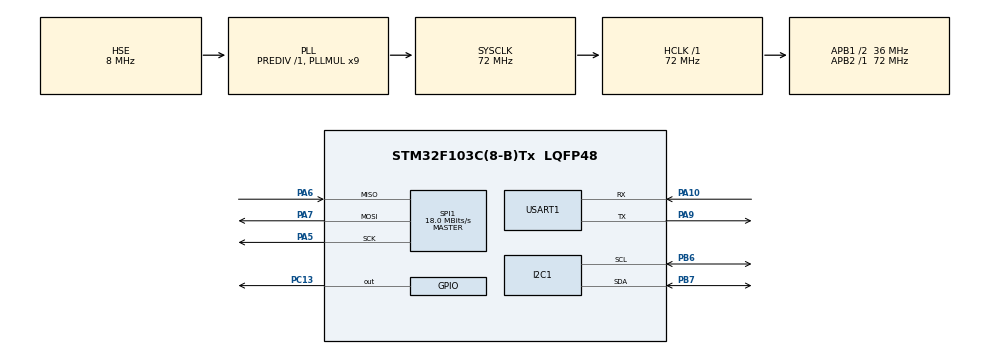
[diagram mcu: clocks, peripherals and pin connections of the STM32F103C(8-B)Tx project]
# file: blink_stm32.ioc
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Dma.I2C1_TX.0.Direction=DMA_MEMORY_TO_PERIPH
Dma.I2C1_TX.0.Instance=DMA1_Channel6
Dma.I2C1_TX.0.MemDataAlignment=DMA_MDATAALIGN_BYTE
Dma.I2C1_TX.0.MemInc=DMA_MINC_ENABLE
Dma.I2C1_TX.0.Mode=DMA_NORMAL
Dma.I2C1_TX.0.PeriphDataAlignment=DMA_PDATAALIGN_BYTE
Dma.I2C1_TX.0.PeriphInc=DMA_PINC_DISABLE
Dma.I2C1_TX.0.Priority=DMA_PRIORITY_VERY_HIGH
Dma.Request0=I2C1_TX
I2C1.DutyCycle=I2C_DUTYCYCLE_2
I2C1.I2C_Mode=I2C_Fast
Mcu.Family=STM32F1
Mcu.Name=STM32F103C(8-B)Tx
Mcu.Package=LQFP48
NVIC.DMA1_Channel6_IRQn=true\:0\:0\:false\:false\:true\:false
NVIC.PriorityGroup=NVIC_PRIORITYGROUP_4
PA10.Mode=Asynchronous
PA10.Signal=USART1_RX
PA13.Mode=Serial_Wire
PA13.Signal=SYS_JTMS-SWDIO
PA14.Mode=Serial_Wire
PA14.Signal=SYS_JTCK-SWCLK
PA5.Mode=Full_Duplex_Master
PA5.Signal=SPI1_SCK
PA6.Mode=Full_Duplex_Master
PA6.Signal=SPI1_MISO
PA7.Mode=Full_Duplex_Master
PA7.Signal=SPI1_MOSI
PA9.Mode=Asynchronous
PA9.Signal=USART1_TX
PB6.Mode=I2C
PB6.Signal=I2C1_SCL
PB7.Mode=I2C
PB7.Signal=I2C1_SDA
PC13-TAMPER-RTC.Signal=GPIO_Output
PC14-OSC32_IN.Mode=LSE-External-Oscillator
PC14-OSC32_IN.Signal=RCC_OSC32_IN
PC15-OSC32_OUT.Mode=LSE-External-Oscillator
PC15-OSC32_OUT.Signal=RCC_OSC32_OUT
PD0-OSC_IN.Mode=HSE-External-Oscillator
PD0-OSC_IN.Signal=RCC_OSC_IN
PD1-OSC_OUT.Mode=HSE-External-Oscillator
PD1-OSC_OUT.Signal=RCC_OSC_OUT
ProjectManager.HeapSize=0x200
ProjectManager.StackSize=0x400
ProjectManager.TargetToolchain=MDK-ARM V5
RCC.AHBFreq_Value=72000000
RCC.APB1CLKDivider=RCC_HCLK_DIV2
RCC.APB1Freq_Value=36000000
RCC.APB1TimFreq_Value=72000000
RCC.APB2Freq_Value=72000000
RCC.APB2TimFreq_Value=72000000
RCC.HCLKFreq_Value=72000000
RCC.PLLMUL=RCC_PLL_MUL9
RCC.PLLSourceVirtual=RCC_PLLSOURCE_HSE
RCC.SYSCLKFreq_VALUE=72000000
RCC.SYSCLKSource=RCC_SYSCLKSOURCE_PLLCLK
RCC.USBFreq_Value=72000000
SPI1.BaudRatePrescaler=SPI_BAUDRATEPRESCALER_4
SPI1.CalculateBaudRate=18.0 MBits/s
SPI1.Direction=SPI_DIRECTION_2LINES
SPI1.Mode=SPI_MODE_MASTER
SPI1.VirtualType=VM_MASTER
USART1.VirtualMode=VM_ASYNC
board=blink_stm32

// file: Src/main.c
/**
  ******************************************************************************
  * File Name          : main.c
  * Description        : Main program body
  ******************************************************************************
  ** This notice applies to any and all portions of this file
  * that are not between comment pairs USER CODE BEGIN and
  * USER CODE END. Other portions of this file, whether
  * inserted by the user or by software development tools
  * are owned by their respective copyright owners.
  *
  * COPYRIGHT(c) 2018 STMicroelectronics
  *
  * Redistribution and use in source and binary forms, with or without modification,
  * are permitted provided that the following conditions are met:
  *   1. Redistributions of source code must retain the above copyright notice,
  *      this list of conditions and the following disclaimer.
  *   2. Redistributions in binary form must reproduce the above copyright notice,
  *      this list of conditions and the following disclaimer in the documentation
  *      and/or other materials provided with the distribution.
  *   3. Neither the name of STMicroelectronics nor the names of its contributors
  *      may be used to endorse or promote products derived from this software
  *      without specific prior written permission.
  *
  * THIS SOFTWARE IS PROVIDED BY THE COPYRIGHT HOLDERS AND CONTRIBUTORS "AS IS"
  * AND ANY EXPRESS OR IMPLIED WARRANTIES, INCLUDING, BUT NOT LIMITED TO, THE
  * IMPLIED WARRANTIES OF MERCHANTABILITY AND FITNESS FOR A PARTICULAR PURPOSE ARE
  * DISCLAIMED. IN NO EVENT SHALL THE COPYRIGHT HOLDER OR CONTRIBUTORS BE LIABLE
  * FOR ANY DIRECT, INDIRECT, INCIDENTAL, SPECIAL, EXEMPLARY, OR CONSEQUENTIAL
  * DAMAGES (INCLUDING, BUT NOT LIMITED TO, PROCUREMENT OF SUBSTITUTE GOODS OR
  * SERVICES; LOSS OF USE, DATA, OR PROFITS; OR BUSINESS INTERRUPTION) HOWEVER
  * CAUSED AND ON ANY THEORY OF LIABILITY, WHETHER IN CONTRACT, STRICT LIABILITY,
  * OR TORT (INCLUDING NEGLIGENCE OR OTHERWISE) ARISING IN ANY WAY OUT OF THE USE
  * OF THIS SOFTWARE, EVEN IF ADVISED OF THE POSSIBILITY OF SUCH DAMAGE.
  *
  ******************************************************************************
  */

#include "main.h"
#include "stm32f1xx_hal.h"
#include "dma.h"
#include "i2c.h"
#include "spi.h"
#include "usart.h"
#include "gpio.h"

/* USER CODE BEGIN Includes */
#include "fonts.h"
#include "ssd1306.h"
/* USER CODE END Includes */

/* USER CODE BEGIN PV */
/* Private variables ---------------------------------------------------------*/

/* USER CODE END PV */

void SystemClock_Config(void);

/* USER CODE BEGIN PFP */
/* Private function prototypes -----------------------------------------------*/

/* USER CODE END PFP */

int main(void)
{

  /* MCU Configuration----------------------------------------------------------*/

  /* Reset of all peripherals, Initializes the Flash interface and the Systick. */
  HAL_Init();

  /* Configure the system clock */
  SystemClock_Config();

  /* Initialize all configured peripherals */
  MX_GPIO_Init();
  MX_DMA_Init();
  MX_USART1_UART_Init();
  MX_SPI1_Init();
  MX_I2C1_Init();

  /* USER CODE BEGIN 2 */
	ssd1306_I2C_Init();

	SSD1306_GotoXY(45, 53); //Устанавливаем курсор в позицию 0;44. Сначала по горизонтали, потом вертикали.
	SSD1306_Puts("BIBAM", &Font_7x10, SSD1306_COLOR_WHITE); //пишем надпись в выставленной позиции шрифтом "Font_7x10" белым цветом.
	SSD1306_DrawTriangle(35,46, 89,46, 62,0, SSD1306_COLOR_WHITE) ; //рисуем белую окружность в позиции 10;33 и радиусом 7 пикселей
	SSD1306_UpdateScreen(); //display
	HAL_Delay(1000);

	SSD1306_Fill(0); //clear oled

	HAL_Delay(1000);
	SSD1306_Fill(1); //clear oled
	SSD1306_UpdateScreen();
	SSD1306_DrawCircle(64, 32, 25, 0);
	SSD1306_UpdateScreen();
	SSD1306_DrawCircle(128, 32, 25, 0);
	SSD1306_UpdateScreen();
	SSD1306_DrawCircle(0, 32, 25, 0);
	SSD1306_UpdateScreen();
	SSD1306_DrawCircle(32, 32, 25, 0);
	SSD1306_UpdateScreen();
	SSD1306_DrawCircle(96, 32, 25, 0);
	SSD1306_UpdateScreen();
	HAL_Delay(1000);

	SSD1306_Fill(0); //clear oled
	SSD1306_UpdateScreen();
	int32_t i = -100;
	char buf[10];
	while(i<=100)
	{
		memset(&buf[0], 0, sizeof(buf));
		sprintf(buf, "%d", i);
		SSD1306_GotoXY(50,27);
		SSD1306_Puts(buf, &Font_7x10, 1);
		SSD1306_DrawLine(64, 10, (i+100)*128/200, (i+100)*64/200, 1);
		SSD1306_UpdateScreen();
		SSD1306_Fill(0); //clear oled
		i++;
	}
	SSD1306_GotoXY(50,27);
	sprintf(buf, "END");
	SSD1306_Puts(buf, &Font_7x10, 1);
	SSD1306_GotoXY(10,52);
	SSD1306_Puts("Lutsai Alexander", &Font_7x10, 1);
	SSD1306_UpdateScreen();
	SSD1306_Fill(0); //clear oled
	HAL_Delay(1000);

  /* USER CODE END 2 */

  /* Infinite loop */
  /* USER CODE BEGIN WHILE */
  while (1)
  {
	  HAL_GPIO_TogglePin(GPIOC, GPIO_PIN_13);
	  HAL_Delay(1000);
	  HAL_GPIO_TogglePin(GPIOC, GPIO_PIN_13);
	  HAL_Delay(150);
	  HAL_GPIO_TogglePin(GPIOC, GPIO_PIN_13);
	  HAL_Delay(150);
	  HAL_GPIO_TogglePin(GPIOC, GPIO_PIN_13);
	  HAL_Delay(150);

  /* USER CODE END WHILE */

  }

}

/** System Clock Configuration
*/
void SystemClock_Config(void)
{

  RCC_OscInitTypeDef RCC_OscInitStruct;
  RCC_ClkInitTypeDef RCC_ClkInitStruct;

    /**Initializes the CPU, AHB and APB busses clocks
    */
  RCC_OscInitStruct.OscillatorType = RCC_OSCILLATORTYPE_HSE;
  RCC_OscInitStruct.HSEState = RCC_HSE_ON;
  RCC_OscInitStruct.HSEPredivValue = RCC_HSE_PREDIV_DIV1;
  RCC_OscInitStruct.HSIState = RCC_HSI_ON;
  RCC_OscInitStruct.PLL.PLLState = RCC_PLL_ON;
  RCC_OscInitStruct.PLL.PLLSource = RCC_PLLSOURCE_HSE;
  RCC_OscInitStruct.PLL.PLLMUL = RCC_PLL_MUL9;
  if (HAL_RCC_OscConfig(&RCC_OscInitStruct) != HAL_OK)
  {
    _Error_Handler(__FILE__, __LINE__);
  }

    /**Initializes the CPU, AHB and APB busses clocks
    */
  RCC_ClkInitStruct.ClockType = RCC_CLOCKTYPE_HCLK|RCC_CLOCKTYPE_SYSCLK
                              |RCC_CLOCKTYPE_PCLK1|RCC_CLOCKTYPE_PCLK2;
  RCC_ClkInitStruct.SYSCLKSource = RCC_SYSCLKSOURCE_PLLCLK;
  RCC_ClkInitStruct.AHBCLKDivider = RCC_SYSCLK_DIV1;
  RCC_ClkInitStruct.APB1CLKDivider = RCC_HCLK_DIV2;
  RCC_ClkInitStruct.APB2CLKDivider = RCC_HCLK_DIV1;

  if (HAL_RCC_ClockConfig(&RCC_ClkInitStruct, FLASH_LATENCY_2) != HAL_OK)
  {
    _Error_Handler(__FILE__, __LINE__);
  }

    /**Configure the Systick interrupt time
    */
  HAL_SYSTICK_Config(HAL_RCC_GetHCLKFreq()/1000);

    /**Configure the Systick
    */
  HAL_SYSTICK_CLKSourceConfig(SYSTICK_CLKSOURCE_HCLK);

  /* SysTick_IRQn interrupt configuration */
  HAL_NVIC_SetPriority(SysTick_IRQn, 0, 0);
}

void _Error_Handler(char * file, int line)
{
  while(1)
  {
  }
}

/************************ (C) COPYRIGHT STMicroelectronics *****END OF FILE****/
